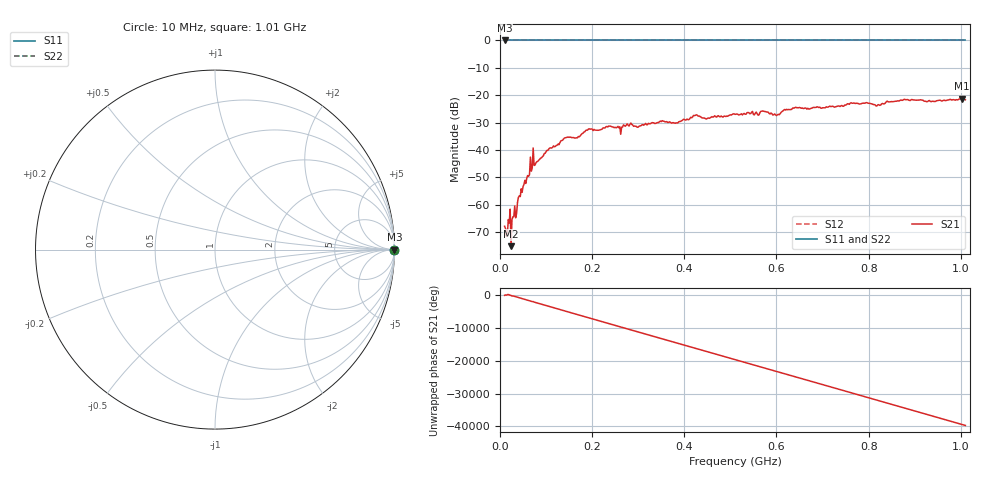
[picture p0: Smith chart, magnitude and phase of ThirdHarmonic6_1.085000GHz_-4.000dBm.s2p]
! 8/16/2025 10:00:41 AM
! C:\ANRITSUVNA\TEMP\TEMP.S2P
! CHANNEL.1
! TR.MEASUREMENT
! RAW.DATA
! RF.CORRECTION.OFF
! AVERAGING.OFF
! IF.BANDWIDTH: 5KHZ
! SWEEPTYPE:  FREQ.SWEEP(Linear)
! Reference Plane Port Info
! PORT:  PORT1  PORT2
! DISTANCE:  0  m  0  m
! TIME:  0  s  0  s
! PHASE.OFFSET:  0  deg.  0  deg.
! LOSS:  0  dB  0  dB
! REF.LOSS:  0  dB  0  dB
! REF.FREQ:  0  Hz  0  Hz
! Power Info
! POWER:  -20  dBm  -20  dBm
! EFF.POWER:  -20  dBm  -20  dBm
! SOURCE.ATTEN:  0  dB  0  dB
! TEST.ATTEN:  0  dB  0  dB
# GHZ S RI R 50.0
! FREQ.GHZ  S11RE  S11IM  S21RE  S21IM  S12RE  S12IM  S22RE  S22IM
!; PortSelection: Port_12
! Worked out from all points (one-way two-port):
!   501 points, 10 MHz to 1.01 GHz, reference 50 ohm
!   highest |S21| = -21.26 dB at 1.002 GHz (marker M1); lowest = -75.1 dB at 24 MHz (marker M2)
!   lowest |S11| = 0.0 dB at 10 MHz (marker M3)
!   |S11| at or under -10 dB: nowhere
!   |S22| runs from 0.0 to 0.0 dB; largest |S21 - S12| = 1.1
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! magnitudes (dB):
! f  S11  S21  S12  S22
! 10 MHz  0.0  -67.9  0.0  0.0
! 24 MHz  0.0  -75.1  0.0  0.0
! 28 MHz  0.0  -64.4  0.0  0.0
! 42 MHz  0.0  -56.7  0.0  0.0
! 60 MHz  0.0  -49.3  0.0  0.0
! 70 MHz  0.0  -46.5  0.0  0.0
! 78 MHz  0.0  -44.7  0.0  0.0
! 104 MHz  0.0  -40.2  0.0  0.0
! 142 MHz  0.0  -35.5  0.0  0.0
! 178 MHz  0.0  -34.0  0.0  0.0
! 196 MHz  0.0  -32.4  0.0  0.0
! 344 MHz  0.0  -30.0  0.0  0.0
! 382 MHz  0.0  -30.1  0.0  0.0
! 424 MHz  0.0  -27.4  0.0  0.0
! 510 MHz  0.0  -27.0  0.0  0.0
! 570 MHz  0.0  -25.8  0.0  0.0
! 602 MHz  0.0  -27.2  0.0  0.0
! 640 MHz  0.0  -24.5  0.0  0.0
! 678 MHz  0.0  -24.6  0.0  0.0
! 844 MHz  0.0  -22.5  0.0  0.0
! 1.002 GHz  0.0  -21.3  0.0  0.0
! 1.01 GHz  0.0  -21.7  0.0  0.0
